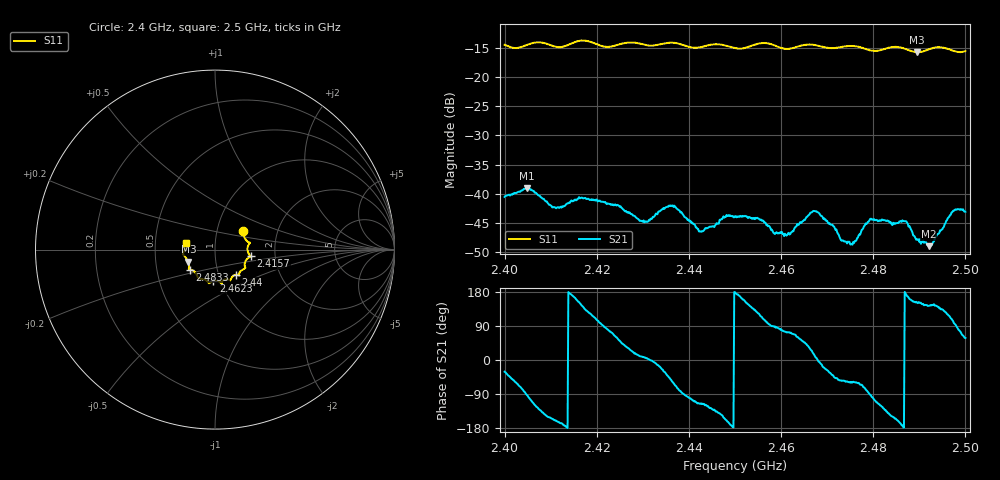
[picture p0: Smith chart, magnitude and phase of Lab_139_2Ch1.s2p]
# Hz S RI R 50
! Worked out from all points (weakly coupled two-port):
!   601 points, 2.4 GHz to 2.5 GHz, reference 50 ohm
!   highest |S21| = -39.07 dB at 2.4048 GHz (marker M1); lowest = -49.0 dB at 2.492 GHz (marker M2)
!   lowest |S11| = -15.7 dB at 2.4895 GHz (marker M3), VSWR 1.39, Z = 36.8 - j5.11 ohm
!   |S11| at or under -10 dB: start of sweep to end of sweep
!   S12 and S22 are empty: the file has one direction only
!   S11 on the Smith chart (normalised r, x): 2.4 GHz: 1.34, +0.29; 2.4157 GHz: 1.49, -0.12; 2.44 GHz: 1.21, -0.35; 2.4623 GHz: 0.92, -0.34; 2.4833 GHz: 0.74, -0.17; 2.5 GHz: 0.72, +0.05
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2.4e9  0.157 0.1059  0.00804 -0.00483  0 0  0 0
2.404833e9  0.1838 0.0428  -0.000463 -0.0111  0 0  0 0
2.410833e9  0.1826 0.0155  -0.00711 -0.00288  0 0  0 0
2.415667e9  0.1991 -0.0373  -0.00822 0.00327  0 0  0 0
2.416667e9  0.202 -0.0404  -0.00753 0.00534  0 0  0 0
2.424667e9  0.166 -0.092  0.00462 0.00645  0 0  0 0
2.429833e9  0.1568 -0.1106  0.00573 0.00089  0 0  0 0
2.433333e9  0.1342 -0.134  0.00678 -0.00165  0 0  0 0
2.4365e9  0.1339 -0.1447  0.00411 -0.00676  0 0  0 0
2.44e9  0.1157 -0.14  -0.000978 -0.00576  0 0  0 0
2.442667e9  0.0938 -0.1548  -0.00196 -0.00428  0 0  0 0
2.45e9  0.0639 -0.1657  -0.00641 0.000132  0 0  0 0
2.462333e9  -0.00901 -0.1761  0.00164 0.00439  0 0  0 0
2.466667e9  -0.0339 -0.1868  0.00629 0.00288  0 0  0 0
2.475e9  -0.0905 -0.1613  0.00193 -0.00313  0 0  0 0
2.479333e9  -0.1063 -0.1318  -0.000159 -0.00606  0 0  0 0
2.483333e9  -0.1395 -0.1113  -0.00445 -0.00366  0 0  0 0
2.486833e9  -0.1446 -0.0988  -0.0058 3.78e-05  0 0  0 0
2.4895e9  -0.1485 -0.0676  -0.00357 0.00193  0 0  0 0
2.492e9  -0.1684 -0.038  -0.00283 0.00213  0 0  0 0
2.497333e9  -0.168 -0.00265  -0.00154 0.00696  0 0  0 0
2.5e9  -0.1628 0.037  0.00372 0.00593  0 0  0 0
